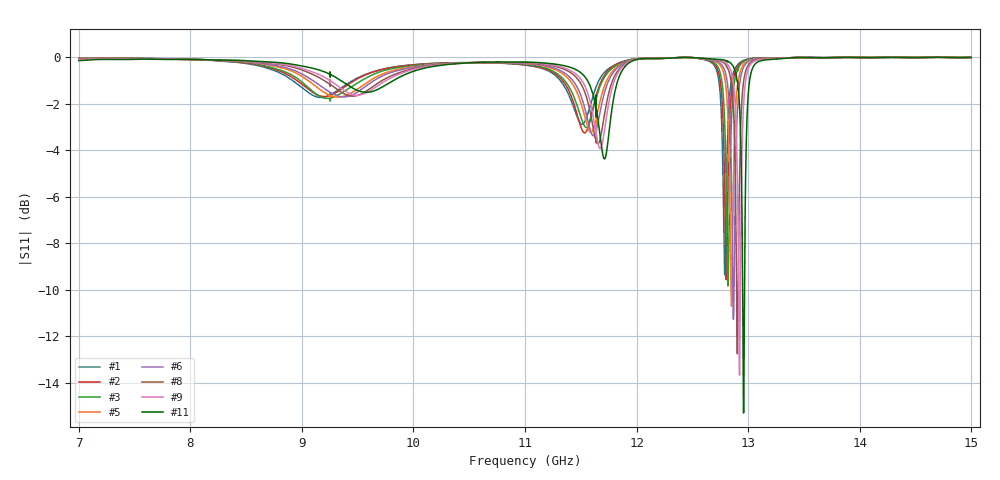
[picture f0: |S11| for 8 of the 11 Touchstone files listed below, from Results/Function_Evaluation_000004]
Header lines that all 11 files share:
! TOUCHSTONE file generated by CST DESIGN STUDIO
! Project name: C:\Work\MatlabApps\UnitCellType2OptimizationMatlab\CST\unitcell.cst
! Tree item: Tasks\Sweep1\SPara1\S-Parameters
! Header version: 2024
! Port assignment regex: !\s*Touchstone port\s*([0-9]+)\s*=\s*(CST MWS port|CST DES external port|CST DES block port)\s*(.+)\s* \(\"(.*)\"\)(\s*mode\s*([0-9]+))?.*
! Touchstone port assignment:
! Touchstone port 1 = CST DES external port 1 ("")
# GHz S MA R 50
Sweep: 7 GHz to 15 GHz
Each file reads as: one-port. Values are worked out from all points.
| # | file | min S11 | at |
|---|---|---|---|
| 1 | DS_for_MWS-run-0001.s1p | -9.4 dB | 12.79 GHz |
| 2 | DS_for_MWS-run-0002.s1p | -9.6 dB | 12.8 GHz |
| 3 | DS_for_MWS-run-0003.s1p | -9.8 dB | 12.82 GHz |
| 4 | DS_for_MWS-run-0004.s1p | -10.2 dB | 12.84 GHz |
| 5 | DS_for_MWS-run-0005.s1p | -10.7 dB | 12.85 GHz |
| 6 | DS_for_MWS-run-0006.s1p | -11.3 dB | 12.87 GHz |
| 7 | DS_for_MWS-run-0007.s1p | -12.0 dB | 12.89 GHz |
| 8 | DS_for_MWS-run-0008.s1p | -12.8 dB | 12.9 GHz |
| 9 | DS_for_MWS-run-0009.s1p | -13.7 dB | 12.92 GHz |
| 10 | DS_for_MWS-run-0010.s1p | -14.5 dB | 12.94 GHz |
| 11 | DS_for_MWS-run-0011.s1p | -15.3 dB | 12.96 GHz |
